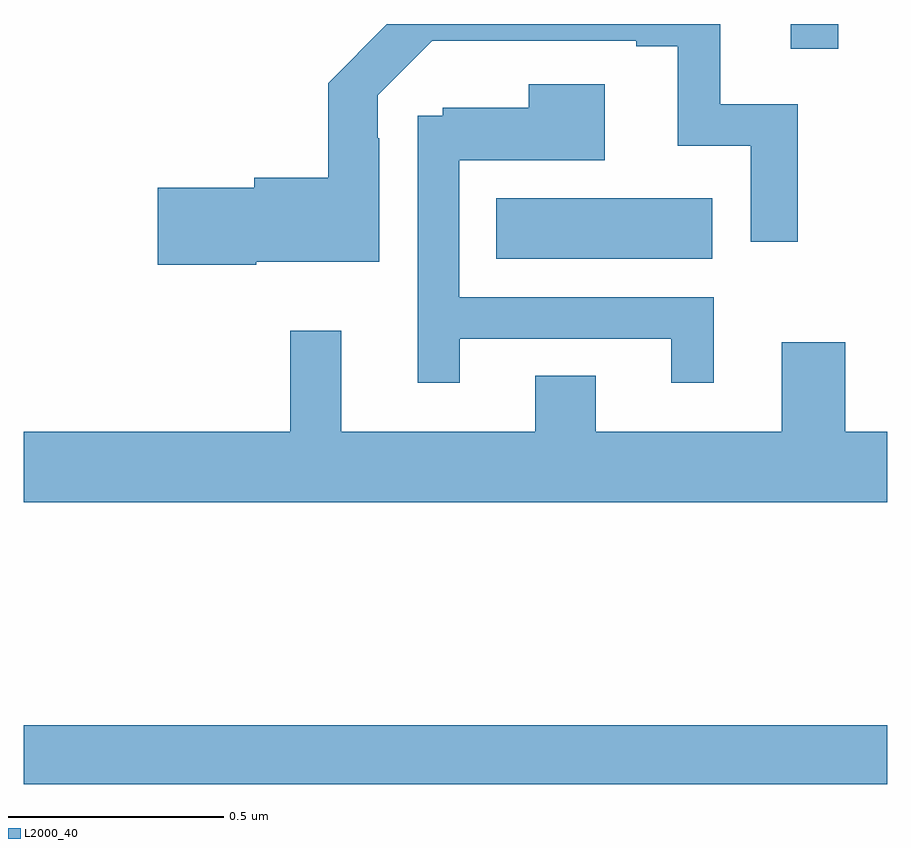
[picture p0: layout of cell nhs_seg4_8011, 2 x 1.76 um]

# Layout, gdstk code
import gdstk
lib = gdstk.Library(unit=1e-6, precision=1e-09)
def R(c, l, rs):  # rectangles x0, y0, x1, y1
    for r in rs: c.add(gdstk.rectangle(r[:2], r[2:], *l))
def P(c, l, *ps):  # polygons
    for p in ps: c.add(gdstk.Polygon(p, *l))
L2000_40 = (2000, 40)

nhs_seg4_8011 = lib.new_cell('nhs_seg4_8011')
R(nhs_seg4_8011, L2000_40, [(209,824.14,211,824.276), (210.094,825.356,210.595,825.496), (210.776,825.843,210.886,825.9)])
P(nhs_seg4_8011, L2000_40, [(209.538,825.35),(209.823,825.35),(209.823,825.635),(209.82,825.635),(209.82,825.735),(209.946,825.861),(210.419,825.861),(210.419,825.849),(210.515,825.849),(210.515,825.618),(210.684,825.618),(210.684,825.396),(210.793,825.396),(210.793,825.714),(210.613,825.714),(210.613,825.9),(209.841,825.9),(209.705,825.763),(209.705,825.544),(209.534,825.544),(209.534,825.521),(209.31,825.521),(209.31,825.343),(209.538,825.343)],
  [(210.01,825.171),(210.5,825.171),(210.5,825.069),(210.598,825.069),(210.598,825.267),(210.009,825.267),(210.009,825.584),(210.346,825.584),(210.346,825.76),(210.17,825.76),(210.17,825.706),(209.97,825.706),(209.97,825.687),(209.913,825.687),(209.913,825.069),(210.01,825.069)],
  [(211,824.956),(210.903,824.956),(210.903,825.163),(210.755,825.163),(210.755,824.956),(210.325,824.956),(210.325,825.086),(210.185,825.086),(210.185,824.956),(209.735,824.956),(209.735,825.19),(209.617,825.19),(209.617,824.956),(209,824.956),(209,824.792),(211,824.792)])

lib.write_gds('nhs_seg4_8011.gds')
